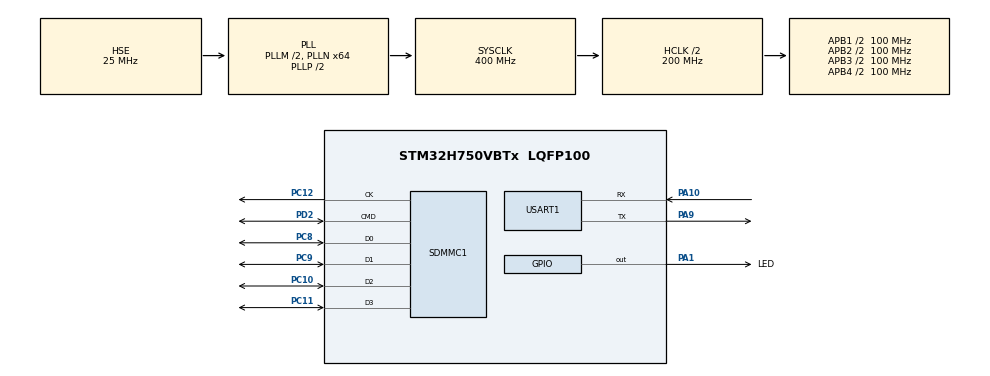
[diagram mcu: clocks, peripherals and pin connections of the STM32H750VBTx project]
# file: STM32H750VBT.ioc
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FATFS._CODE_PAGE=437
FATFS._MAX_SS=512
FATFS._USE_LFN=2
Mcu.Family=STM32H7
Mcu.Name=STM32H750VBTx
Mcu.Package=LQFP100
NVIC.PriorityGroup=NVIC_PRIORITYGROUP_4
NVIC.SDMMC1_IRQn=true\:0\:0\:false\:false\:true\:true\:true
PA1.GPIO_Label=LED
PA1.Signal=GPIO_Output
PA10.Mode=Asynchronous
PA10.Signal=USART1_RX
PA9.Mode=Asynchronous
PA9.Signal=USART1_TX
PC10.GPIO_PuPd=GPIO_PULLUP
PC10.Mode=SD_4_bits_Wide_bus
PC10.Signal=SDMMC1_D2
PC11.GPIO_PuPd=GPIO_PULLUP
PC11.Mode=SD_4_bits_Wide_bus
PC11.Signal=SDMMC1_D3
PC12.Mode=SD_4_bits_Wide_bus
PC12.Signal=SDMMC1_CK
PC14-OSC32_IN\ (OSC32_IN).Mode=LSE-External-Oscillator
PC14-OSC32_IN\ (OSC32_IN).Signal=RCC_OSC32_IN
PC15-OSC32_OUT\ (OSC32_OUT).Mode=LSE-External-Oscillator
PC15-OSC32_OUT\ (OSC32_OUT).Signal=RCC_OSC32_OUT
PC8.GPIO_PuPd=GPIO_PULLUP
PC8.Mode=SD_4_bits_Wide_bus
PC8.Signal=SDMMC1_D0
PC9.GPIO_PuPd=GPIO_PULLUP
PC9.Mode=SD_4_bits_Wide_bus
PC9.Signal=SDMMC1_D1
PD2.GPIO_PuPd=GPIO_PULLUP
PD2.Mode=SD_4_bits_Wide_bus
PD2.Signal=SDMMC1_CMD
PH0-OSC_IN\ (PH0).Mode=HSE-External-Oscillator
PH0-OSC_IN\ (PH0).Signal=RCC_OSC_IN
PH1-OSC_OUT\ (PH1).Mode=HSE-External-Oscillator
PH1-OSC_OUT\ (PH1).Signal=RCC_OSC_OUT
ProjectManager.HeapSize=0x2000
ProjectManager.StackSize=0x2000
ProjectManager.TargetToolchain=MDK-ARM V5.32
RCC.ADCFreq_Value=50390625
RCC.APB1Freq_Value=100000000
RCC.APB2Freq_Value=100000000
RCC.APB3Freq_Value=100000000
RCC.APB4Freq_Value=100000000
RCC.CortexFreq_Value=400000000
RCC.D1PPRE=RCC_APB3_DIV2
RCC.D2PPRE1=RCC_APB1_DIV2
RCC.D2PPRE2=RCC_APB2_DIV2
RCC.D3PPRE=RCC_APB4_DIV2
RCC.DIVM1=2
RCC.DIVN1=64
RCC.DIVQ1=80
RCC.HCLKFreq_Value=200000000
RCC.HPRE=RCC_HCLK_DIV2
RCC.PLL1_VCI_Range=RCC_PLL1VCIRANGE_3
RCC.PLL2FRACN=0
RCC.PLL3FRACN=0
RCC.PLLFRACN=0
RCC.PLLSourceVirtual=RCC_PLLSOURCE_HSE
RCC.PWR_Regulator_Voltage_Scale=PWR_REGULATOR_VOLTAGE_SCALE1
RCC.SYSCLKFreq_VALUE=400000000
RCC.SYSCLKSource=RCC_SYSCLKSOURCE_PLLCLK
RCC.USBCLockSelection=RCC_USBCLKSOURCE_HSI48
RCC.USBFreq_Value=48000000
USART1.VirtualMode-Asynchronous=VM_ASYNC
VP_FATFS_VS_SDIO.Mode=SDIO
board=custom

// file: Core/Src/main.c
/* USER CODE BEGIN Header */
/**
 ******************************************************************************
 * @file           : main.c
 * @brief          : Main program body
 ******************************************************************************
 * @attention
 *
 * Copyright (c) 2021 STMicroelectronics.
 * All rights reserved.
 *
 * This software is licensed under terms that can be found in the LICENSE file
 * in the root directory of this software component.
 * If no LICENSE file comes with this software, it is provided AS-IS.
 *
 ******************************************************************************
 */
/* USER CODE END Header */
#include "main.h"
#include "fatfs.h"
#include "sdmmc.h"
#include "usart.h"
#include "gpio.h"

/* USER CODE BEGIN Includes */
#include <stdio.h>
/* USER CODE END Includes */

/* USER CODE BEGIN PV */
uint32_t byteswritten;                                /* File write counts */
uint32_t bytesread;                                   /* File read counts */
uint8_t wtext[] = "This is STM32 working with FatFs"; /* File write buffer */
uint8_t rtext[100];                                   /* File read buffers */
char filename[] = "0:c";

/* USER CODE END PV */

void SystemClock_Config(void);

int main(void)
{

    /* MCU Configuration--------------------------------------------------------*/

    /* Reset of all peripherals, Initializes the Flash interface and the Systick. */
    HAL_Init();

    /* Configure the system clock */
    SystemClock_Config();

    /* Initialize all configured peripherals */
    MX_GPIO_Init();
    MX_SDMMC1_SD_Init();
    MX_FATFS_Init();
    MX_USART1_UART_Init();
    /* USER CODE BEGIN 2 */
    printf("Hello world!");
    char a[1] = {0};
    scanf("%c", a);
    printf("****** FatFs Example ******\r\n");
    retSD = f_mount(&SDFatFS, "0:", 0);
    if (retSD)
    {
        printf("****** mount error: %d******\r\n", retSD);
    }
    else
        printf("****** mount success!!! ******\r\n");
    retSD = f_open(&SDFile, filename, FA_CREATE_ALWAYS | FA_WRITE);
    if (retSD)
    {
        printf("****** open file error: %d******\r\n", retSD);
    }
    else
        printf("****** open file success!!! ******\r\n");
    retSD = f_write(&SDFile, wtext, sizeof(wtext), (void *)&byteswritten);
    if (retSD)
    {
        printf("****** write file error: %d******\r\n", retSD);
    }
    else
        printf("****** write file success!!! ******\r\n");
    retSD = f_close(&SDFile);
    if (retSD)
    {
        printf("****** close file error: %d******\r\n", retSD);
    }
    else
        printf("****** close file success!!! ******\r\n");

    /* USER CODE END 2 */

    /* Infinite loop */
    while (1)
    {

    }
}

void SystemClock_Config(void)
{
    RCC_OscInitTypeDef RCC_OscInitStruct = {0};
    RCC_ClkInitTypeDef RCC_ClkInitStruct = {0};

    /** Supply configuration update enable
     */
    HAL_PWREx_ConfigSupply(PWR_LDO_SUPPLY);
    /** Configure the main internal regulator output voltage
     */
    __HAL_PWR_VOLTAGESCALING_CONFIG(PWR_REGULATOR_VOLTAGE_SCALE1);

    while (!__HAL_PWR_GET_FLAG(PWR_FLAG_VOSRDY))
    {
    }
    /** Initializes the RCC Oscillators according to the specified parameters
     * in the RCC_OscInitTypeDef structure.
     */
    RCC_OscInitStruct.OscillatorType = RCC_OSCILLATORTYPE_HSE;
    RCC_OscInitStruct.HSEState = RCC_HSE_ON;
    RCC_OscInitStruct.PLL.PLLState = RCC_PLL_ON;
    RCC_OscInitStruct.PLL.PLLSource = RCC_PLLSOURCE_HSE;
    RCC_OscInitStruct.PLL.PLLM = 2;
    RCC_OscInitStruct.PLL.PLLN = 64;
    RCC_OscInitStruct.PLL.PLLP = 2;
    RCC_OscInitStruct.PLL.PLLQ = 80;
    RCC_OscInitStruct.PLL.PLLR = 2;
    RCC_OscInitStruct.PLL.PLLRGE = RCC_PLL1VCIRANGE_3;
    RCC_OscInitStruct.PLL.PLLVCOSEL = RCC_PLL1VCOWIDE;
    RCC_OscInitStruct.PLL.PLLFRACN = 0;
    if (HAL_RCC_OscConfig(&RCC_OscInitStruct) != HAL_OK)
    {
        Error_Handler();
    }
    /** Initializes the CPU, AHB and APB buses clocks
     */
    RCC_ClkInitStruct.ClockType = RCC_CLOCKTYPE_HCLK | RCC_CLOCKTYPE_SYSCLK | RCC_CLOCKTYPE_PCLK1 |
                                  RCC_CLOCKTYPE_PCLK2 | RCC_CLOCKTYPE_D3PCLK1 | RCC_CLOCKTYPE_D1PCLK1;
    RCC_ClkInitStruct.SYSCLKSource = RCC_SYSCLKSOURCE_PLLCLK;
    RCC_ClkInitStruct.SYSCLKDivider = RCC_SYSCLK_DIV1;
    RCC_ClkInitStruct.AHBCLKDivider = RCC_HCLK_DIV2;
    RCC_ClkInitStruct.APB3CLKDivider = RCC_APB3_DIV2;
    RCC_ClkInitStruct.APB1CLKDivider = RCC_APB1_DIV2;
    RCC_ClkInitStruct.APB2CLKDivider = RCC_APB2_DIV2;
    RCC_ClkInitStruct.APB4CLKDivider = RCC_APB4_DIV2;

    if (HAL_RCC_ClockConfig(&RCC_ClkInitStruct, FLASH_LATENCY_2) != HAL_OK)
    {
        Error_Handler();
    }
}

/* USER CODE BEGIN 4 */
int fputc(int ch, FILE *f)
{
    HAL_UART_Transmit(&huart1, (uint8_t *)&ch, 1, 0xffff);
    return ch;
}

int fgetc(FILE *f)
{
    uint8_t ch = 0;
    HAL_UART_Receive(&huart1, &ch, 1, 0xffff);
    return ch;
}

/* USER CODE END 4 */

void Error_Handler(void)
{
    __disable_irq();
    while (1)
    {
    }
}
